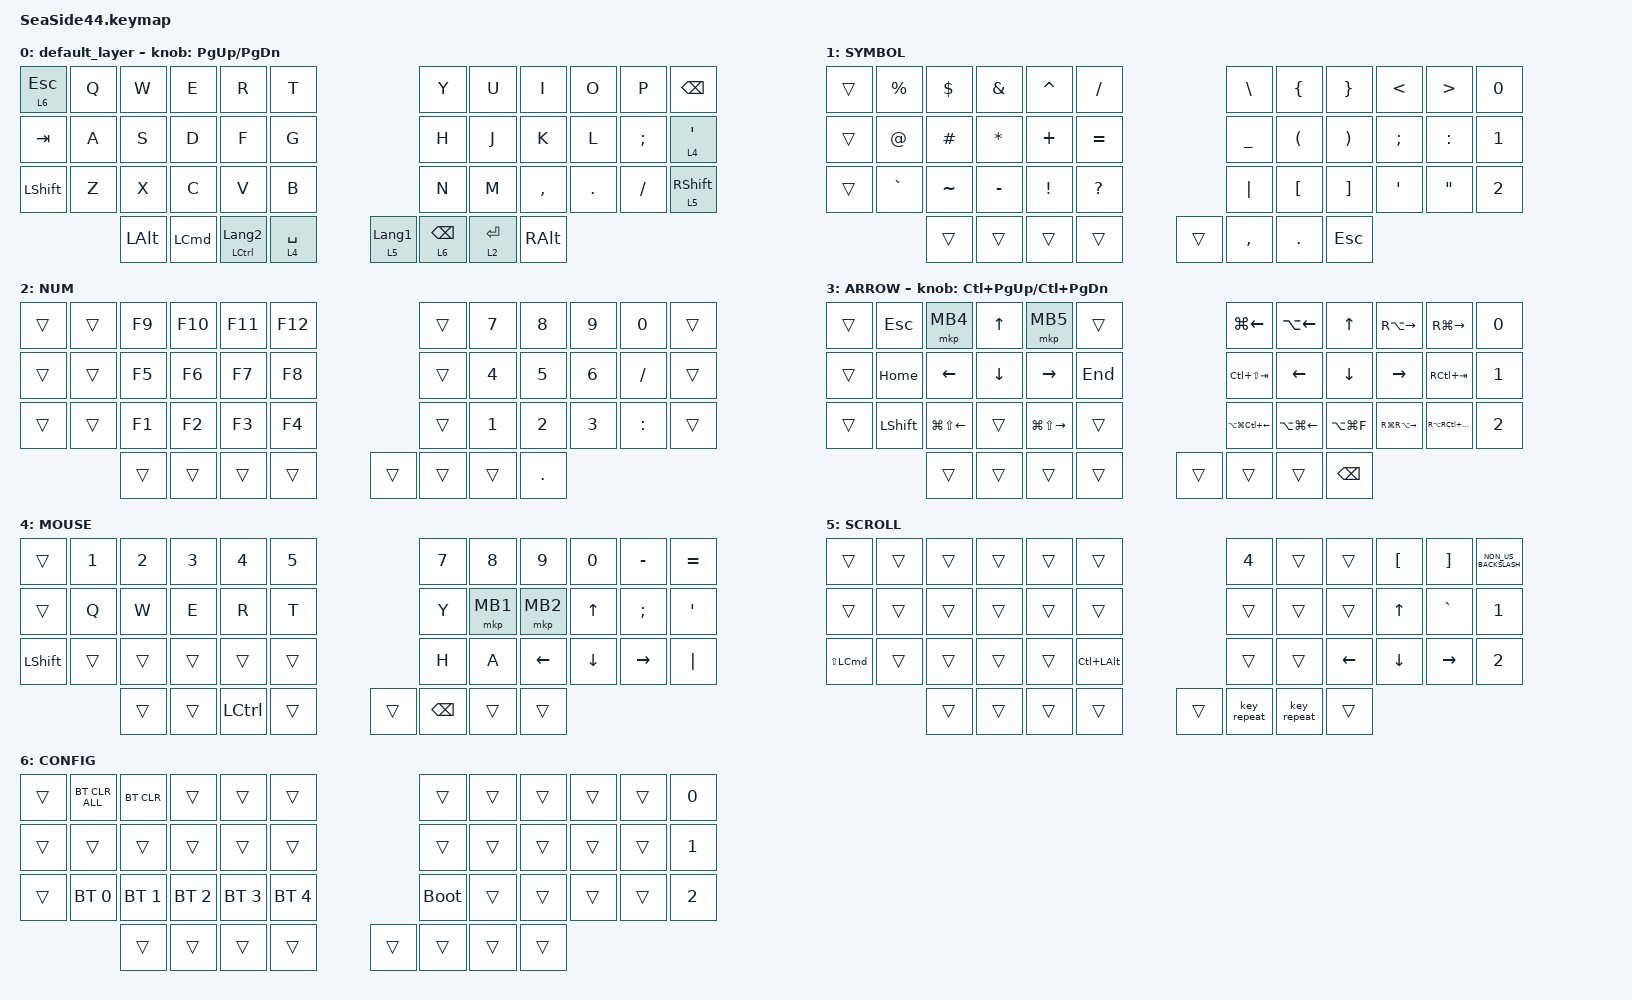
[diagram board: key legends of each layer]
#include <behaviors.dtsi>
#include <dt-bindings/zmk/bt.h>
#include <dt-bindings/zmk/keys.h>
#include <dt-bindings/zmk/pointing.h>

#define MOUSE 4
#define SCROLL 5
#define NUM 6

&mt {
    flavor = "balanced";
    quick-tap-ms = <300>;
};

&lt {
    flavor = "balanced";
    quick-tap-ms = <300>;
};

/ {
    combos { compatible = "zmk,combos"; };

    macros {
        to_layer_0: to_layer_0 {
            compatible = "zmk,behavior-macro-one-param";
            #binding-cells = <1>;
            bindings = <&to 0 &macro_param_1to1 &kp MACRO_PLACEHOLDER>;
            label = "TO_LAYER_0";
        };
    };

    behaviors {
        lt_to_layer_0: lt_to_layer_0 {
            compatible = "zmk,behavior-hold-tap";
            label = "LAYER_TAP_TO_0";
            bindings = <&mo>, <&to_layer_0>;

            #binding-cells = <2>;
            tapping-term-ms = <200>;
        };
    };

    keymap {
        compatible = "zmk,keymap";

        default_layer {
            bindings = <
&lt 6 ESCAPE  &kp Q  &kp W         &kp E             &kp R                        &kp T                                             &kp Y        &kp U  &kp I          &kp O       &kp P          &kp BACKSPACE
&kp TAB       &kp A  &kp S         &kp D             &kp F                        &kp G                                             &kp H        &kp J  &kp K          &kp L       &kp SEMICOLON  &lt 4 SQT
&kp LSHFT     &kp Z  &kp X         &kp C             &kp V                        &kp B                                             &kp N        &kp M  &kp COMMA      &kp PERIOD  &kp SLASH      &lt 5 RIGHT_SHIFT
                     &kp LEFT_ALT  &kp LEFT_COMMAND  &mt LEFT_CONTROL LANGUAGE_2  &lt 4 SPACE  &lt 5 LANGUAGE_1    &lt 6 BACKSPACE  &lt 2 ENTER         &kp RIGHT_ALT
            >;

            sensor-bindings = <&inc_dec_kp PG_UP PAGE_DOWN>;
        };

        SYMBOL {
            bindings = <
&trans  &kp PRCNT  &kp DOLLAR  &kp AMPERSAND  &kp CARET        &kp FSLH                           &kp BSLH        &kp LEFT_BRACE        &kp RIGHT_BRACE        &kp LESS_THAN  &kp GREATER_THAN   &kp N0
&trans  &kp AT     &kp HASH    &kp ASTERISK   &kp PLUS         &kp EQUAL                          &kp UNDERSCORE  &kp LEFT_PARENTHESIS  &kp RIGHT_PARENTHESIS  &kp SEMI       &kp COLON          &kp N1
&trans  &kp GRAVE  &kp TILDE   &kp MINUS      &kp EXCLAMATION  &kp QUESTION                       &kp PIPE        &kp LBKT              &kp RBKT               &kp SQT        &kp DOUBLE_QUOTES  &kp N2
                   &trans      &trans         &trans           &trans        &trans    &kp COMMA  &kp PERIOD                            &kp ESC
            >;
        };

        NUM {
            bindings = <
&trans  &trans  &kp F9  &kp F10  &kp F11  &kp F12                    &trans  &kp NUMBER_7  &kp N8        &kp N9        &kp N0     &trans
&trans  &trans  &kp F5  &kp F6   &kp F7   &kp F8                     &trans  &kp N4        &kp NUMBER_5  &kp N6        &kp SLASH  &trans
&trans  &trans  &kp F1  &kp F2   &kp F3   &kp F4                     &trans  &kp N1        &kp NUMBER_2  &kp NUMBER_3  &kp COLON  &trans
                &trans  &trans   &trans   &trans   &trans    &trans  &trans                &kp PERIOD
            >;
        };

        ARROW {
            bindings = <
&trans  &kp ESCAPE      &mkp MB4                &kp UP_ARROW    &mkp MB5                 &trans                     &kp LG(LEFT_ARROW)          &kp LA(LEFT_ARROW)      &kp UP_ARROW    &kp RA(RIGHT_ARROW)      &kp RG(RIGHT_ARROW)          &kp N0
&trans  &kp HOME        &kp LEFT_ARROW          &kp DOWN_ARROW  &kp RIGHT_ARROW          &kp END                    &kp LC(LS(TAB))             &kp LEFT_ARROW          &kp DOWN_ARROW  &kp RIGHT_ARROW          &kp RC(TAB)                  &kp N1
&trans  &kp LEFT_SHIFT  &kp LG(LS(LEFT_ARROW))  &trans          &kp LG(LS(RIGHT_ARROW))  &trans                     &kp LA(LG(LC(LEFT_ARROW)))  &kp LA(LG(LEFT_ARROW))  &kp LA(LG(F))   &kp RG(RA(RIGHT_ARROW))  &kp RA(RC(RG(RIGHT_ARROW)))  &kp N2
                        &trans                  &trans          &trans                   &trans   &trans    &trans  &trans                                              &kp BACKSPACE
            >;

            sensor-bindings = <&inc_dec_kp LC(PAGE_UP) LC(PAGE_DOWN)>;
        };

        MOUSE {
            bindings = <
&trans          &kp NUMBER_1  &kp NUMBER_2  &kp NUMBER_3  &kp NUMBER_4      &kp NUMBER_5                           &kp NUMBER_7  &kp NUMBER_8  &kp NUMBER_9    &kp NUMBER_0    &kp MINUS        &kp EQUAL
&trans          &kp Q         &kp W         &kp E         &kp R             &kp T                                  &kp Y         &mkp MB1      &mkp MB2        &kp UP_ARROW    &kp SEMICOLON    &kp SQT
&kp LEFT_SHIFT  &trans        &trans        &trans        &trans            &trans                                 &kp H         &kp A         &kp LEFT_ARROW  &kp DOWN_ARROW  &kp RIGHT_ARROW  &kp PIPE
                              &trans        &trans        &kp LEFT_CONTROL  &trans        &trans    &kp BACKSPACE  &trans                      &trans
            >;
        };

        SCROLL {
            bindings = <
&trans                &trans  &trans  &trans  &trans  &trans                                   &kp NUMBER_4  &trans  &trans          &kp LEFT_BRACKET  &kp RIGHT_BRACKET  &kp NON_US_BACKSLASH
&trans                &trans  &trans  &trans  &trans  &trans                                   &trans        &trans  &trans          &kp UP_ARROW      &kp GRAVE          &kp N1
&kp LS(LEFT_COMMAND)  &trans  &trans  &trans  &trans  &kp LC(LEFT_ALT)                         &trans        &trans  &kp LEFT_ARROW  &kp DOWN_ARROW    &kp RIGHT_ARROW    &kp N2
                              &trans  &trans  &trans  &trans            &trans    &key_repeat  &key_repeat           &trans
            >;
        };

        CONFIG {
            bindings = <
&trans  &bt BT_CLR_ALL  &bt BT_CLR    &trans        &trans        &trans                          &trans       &trans  &trans  &trans  &trans  &kp N0
&trans  &trans          &trans        &trans        &trans        &trans                          &trans       &trans  &trans  &trans  &trans  &kp N1
&trans  &bt BT_SEL 0    &bt BT_SEL 1  &bt BT_SEL 2  &bt BT_SEL 3  &bt BT_SEL 4                    &bootloader  &trans  &trans  &trans  &trans  &kp N2
                        &trans        &trans        &trans        &trans        &trans    &trans  &trans               &trans
            >;
        };
    };
};
